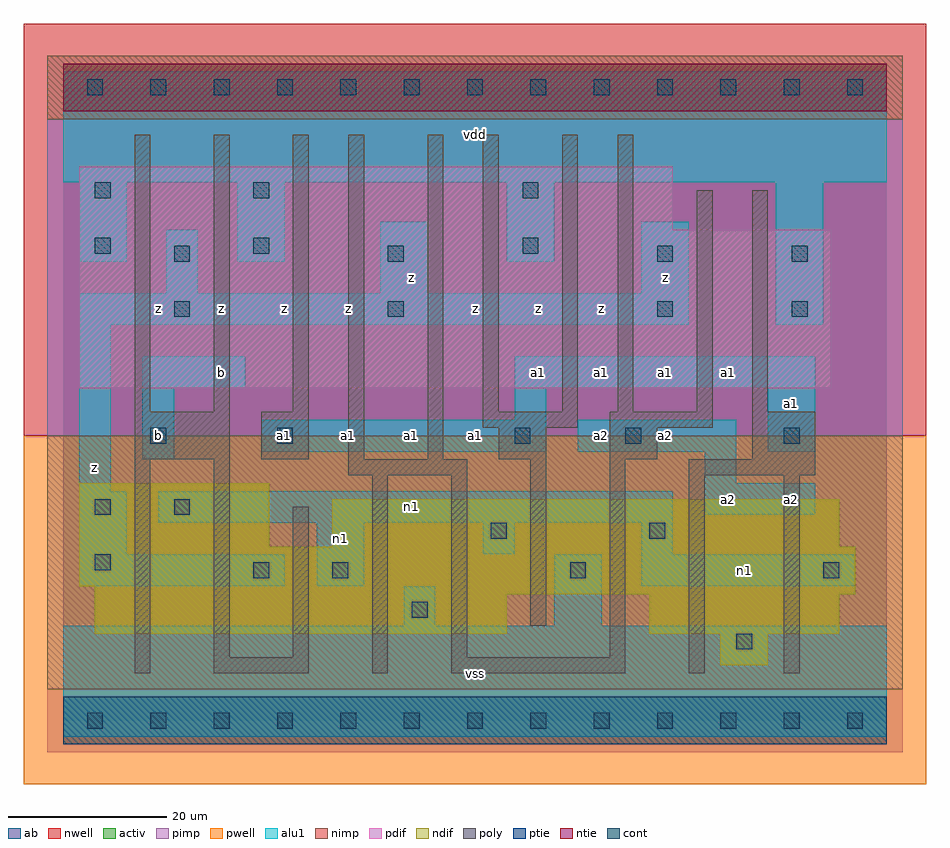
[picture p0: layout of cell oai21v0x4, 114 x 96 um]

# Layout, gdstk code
import gdstk
lib = gdstk.Library(unit=1e-6, precision=1e-09)
def R(c, l, rs):  # rectangles x0, y0, x1, y1
    for r in rs: c.add(gdstk.rectangle(r[:2], r[2:], *l))
def A(c, l, x, y, w, h, nx, ny, dx, dy):  # array of equal rectangles
    R(c, l, [(x+i*dx, y+j*dy, x+i*dx+w, y+j*dy+h) for i in range(nx) for j in range(ny)])
ndif = (3, 0)
pdif = (4, 0)
ntie = (5, 0)
ptie = (6, 0)
cont = (25, 0)
pwell = (41, 0)
nwell = (42, 0)
activ = (43, 0)
pimp = (44, 0)
nimp = (45, 0)
poly = (46, 0)
alu1 = (49, 0)
ab = (63, 0)

oai21v0x4 = lib.new_cell('oai21v0x4')
R(oai21v0x4, ndif, [(83,7,89,11), (4,11,56,16), (74,11,98,16), (4,16,100,17), (2,17,100,22), (2,22,26,30), (34,22,98,28)])
R(oai21v0x4, pdif, [(2,42,97,62), (2,62,77,70)])
R(oai21v0x4, ntie, [(0,77,104,83)])
R(oai21v0x4, ptie, [(0,-3,104,3)])
A(oai21v0x4, cont, 3, -1, 2, 2, 13, 2, 8, 80)
R(oai21v0x4, cont, [(85,9,87,11), (44,13,46,15), (24,18,26,20), (34,18,36,20), (64,18,66,20), (96,18,98,20), (4,19,6,21), (54,23,56,25), (74,23,76,25), (4,26,6,28), (14,26,16,28), (11,35,13,37), (27,35,29,37), (57,35,59,37), (71,35,73,37), (91,35,93,37), (14,51,16,53), (41,51,43,53), (75,51,77,53), (92,51,94,53), (14,58,16,60), (41,58,43,60), (75,58,77,60), (92,58,94,60), (4,59,6,61), (24,59,26,61), (58,59,60,61), (4,66,6,68), (24,66,26,68), (58,66,60,68)])
R(oai21v0x4, pwell, [(-5,-8,109,36)])
R(oai21v0x4, nwell, [(-5,36,109,88)])
R(oai21v0x4, activ, [(0,-3,104,3), (83,7,89,11), (4,11,56,16), (74,11,98,16), (4,16,100,17), (2,17,100,22), (2,22,26,30), (34,22,98,28), (2,42,97,62), (2,62,77,70), (0,77,104,83)])
R(oai21v0x4, pimp, [(-2,-4,106,4), (-2,36,106,76)])
R(oai21v0x4, nimp, [(-2,4,106,36), (-2,76,106,84)])
A(oai21v0x4, poly, 9, 39, 2, 35, 3, 1, 10, 0)
R(oai21v0x4, poly, [(9,6,11,33), (19,6,31,8), (39,6,41,31), (49,6,71,8), (79,6,81,31), (91,6,93,31), (19,8,21,33), (29,8,31,27), (49,8,51,31), (69,8,71,33), (59,12,61,33), (36,31,51,33), (79,31,95,33), (9,33,21,39), (25,33,31,39), (36,33,38,74), (46,33,48,74), (55,33,61,37), (69,33,75,37), (87,33,95,39), (53,37,65,39), (69,37,82,39), (53,39,55,74), (63,39,65,74), (70,39,72,74), (80,39,82,67), (87,39,89,67)])
R(oai21v0x4, alu1, [(0,-2,104,12), (43,12,47,17), (62,12,68,21), (2,17,28,21), (32,17,38,25), (73,17,100,21), (2,21,8,29), (53,21,57,25), (73,21,77,25), (12,25,77,29), (81,26,95,30), (2,29,6,50), (81,30,85,34), (10,33,14,42), (25,34,61,38), (65,34,85,38), (89,34,95,42), (57,38,61,42), (10,42,23,46), (57,42,95,46), (2,50,79,54), (90,50,96,68), (13,54,17,62), (40,54,46,63), (73,54,79,63), (2,58,8,68), (22,58,28,68), (56,58,62,68), (0,68,104,82)])
R(oai21v0x4, ab, [(0,0,104,80)])
oai21v0x4.add(gdstk.Label('n1', (35,23), layer=49, texttype=0))
oai21v0x4.add(gdstk.Label('n1', (44,27), layer=49, texttype=0))
oai21v0x4.add(gdstk.Label('n1', (86,19), layer=49, texttype=0))
oai21v0x4.add(gdstk.Label('z', (4,32), layer=49, texttype=0))
oai21v0x4.add(gdstk.Label('b', (12,36), layer=49, texttype=0))
oai21v0x4.add(gdstk.Label('z', (12,52), layer=49, texttype=0))
oai21v0x4.add(gdstk.Label('b', (20,44), layer=49, texttype=0))
oai21v0x4.add(gdstk.Label('a1', (36,36), layer=49, texttype=0))
oai21v0x4.add(gdstk.Label('a1', (28,36), layer=49, texttype=0))
oai21v0x4.add(gdstk.Label('z', (36,52), layer=49, texttype=0))
oai21v0x4.add(gdstk.Label('z', (28,52), layer=49, texttype=0))
oai21v0x4.add(gdstk.Label('z', (20,52), layer=49, texttype=0))
oai21v0x4.add(gdstk.Label('vss', (52,6), layer=49, texttype=0))
oai21v0x4.add(gdstk.Label('a1', (44,36), layer=49, texttype=0))
oai21v0x4.add(gdstk.Label('a1', (60,44), layer=49, texttype=0))
oai21v0x4.add(gdstk.Label('a1', (52,36), layer=49, texttype=0))
oai21v0x4.add(gdstk.Label('z', (60,52), layer=49, texttype=0))
oai21v0x4.add(gdstk.Label('z', (52,52), layer=49, texttype=0))
oai21v0x4.add(gdstk.Label('z', (44,56), layer=49, texttype=0))
oai21v0x4.add(gdstk.Label('vdd', (52,74), layer=49, texttype=0))
oai21v0x4.add(gdstk.Label('a1', (76,44), layer=49, texttype=0))
oai21v0x4.add(gdstk.Label('a2', (76,36), layer=49, texttype=0))
oai21v0x4.add(gdstk.Label('a1', (68,44), layer=49, texttype=0))
oai21v0x4.add(gdstk.Label('a2', (68,36), layer=49, texttype=0))
oai21v0x4.add(gdstk.Label('z', (68,52), layer=49, texttype=0))
oai21v0x4.add(gdstk.Label('z', (76,56), layer=49, texttype=0))
oai21v0x4.add(gdstk.Label('a2', (84,28), layer=49, texttype=0))
oai21v0x4.add(gdstk.Label('a2', (92,28), layer=49, texttype=0))
oai21v0x4.add(gdstk.Label('a1', (84,44), layer=49, texttype=0))
oai21v0x4.add(gdstk.Label('a1', (92,40), layer=49, texttype=0))

lib.write_gds('oai21v0x4.gds')
